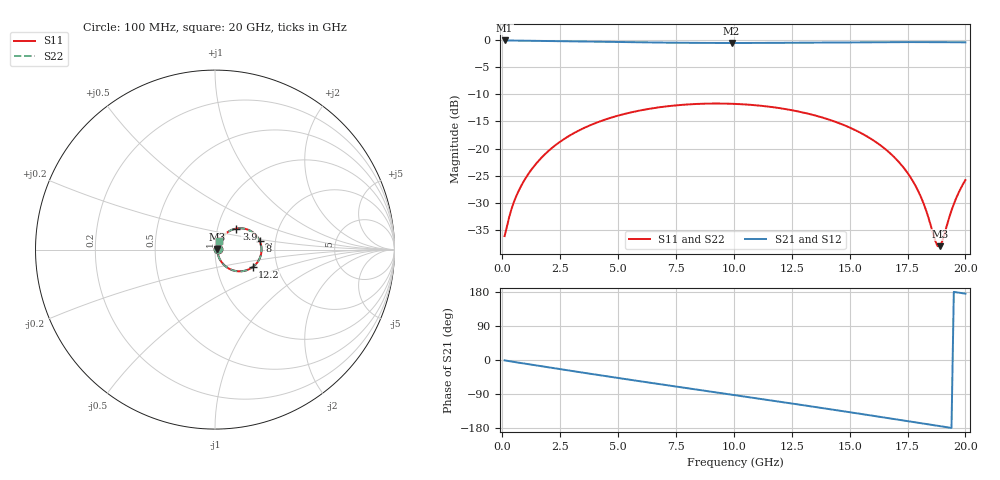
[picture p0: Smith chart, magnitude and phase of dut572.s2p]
! Touchstone file exported from HFSS 2026.1.0
!  File:  C:/ffzhzh/LocalFiles/Ansys_Project_Files/temp_train_TSV_RDL_572_1783117999_50312.aedt
!  Generated:  06:42:43 AM Jul  4, 2026
!  Design:  TSV_RDL
!  Project:  temp_train_TSV_RDL_572_1783117999_50312
! Variables:
!  h_bsmrdl = 3.88um
!  h_ox = 20um
!  h_rdl = 5um
!  h_sub = 78.49um
!  h_tmrdl = 2.42um
!  h_tsv = 78.49um
!  h_via = 3um
!  l_bsmrdl = 439.71um
!  l_sub = 2972.82um
!  l_tmrdl = 280.49um
!  m_sub = 200um
!  pitch = 34.37um
!  r_tsv = 10.46um
!  s_tmrdl = 10um
!  w_bsmrdl = 19.62um
!  w_sub = 500um
!  w_tmrdl = 24.29um
!  x_tsv_center1 = 292.635um
!  x_tsv_center2 = 751.965um
!  x_tsv_center3 = 1056.745um
!  x_tsv_center4 = 1516.075um
!  x_tsv_center5 = 1820.855um
!  x_tsv_center6 = 2280.185um
# GHz S MA R 50.000000
! Terminal data exported
! Port[1] = TM_RDL1_1_T1
! Port[2] = TM_RDL5_1_T1
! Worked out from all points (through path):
!   200 points, 100 MHz to 20 GHz, reference 50 ohm
!   highest |S21| = -0.13 dB at 100 MHz (marker M1); lowest = -0.6 dB at 9.9 GHz (marker M2)
!   group delay of S21, straight-line fit = 25.4 ps
!   lowest |S11| = -38.0 dB at 18.9 GHz (marker M3), VSWR 1.03, Z = 51.3 + j0.249 ohm
!   |S11| at or under -10 dB: start of sweep to end of sweep
!   |S22| runs from -38.0 to -11.7 dB; largest |S21 - S12| = 8.3e-14
!   S11 on the Smith chart (normalised r, x): 100 MHz: 1.03, +0.01; 3.9 GHz: 1.23, +0.30; 8 GHz: 1.66, +0.16; 12.2 GHz: 1.49, -0.31; 20 GHz: 1.04, +0.10
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0.1  0.01565 21.7  0.9855 -1.0  0.9855 -1.0  0.01565 21.7
! Gamma 0 0 0 0
! Port Impedance 50 0 50 0
0.5  0.03211 51.6  0.982 -5.0  0.982 -5.0  0.03211 51.6
1.2  0.06151 59.0  0.9781 -11.8  0.9781 -11.8  0.06151 59.0
2.2  0.1034 56.5  0.9728 -21.3  0.9728 -21.3  0.1034 56.5
3.5  0.1534 47.7  0.9642 -33.6  0.9642 -33.6  0.1534 47.7
3.9  0.1672 44.6  0.9614 -37.3  0.9614 -37.3  0.1672 44.6
6.8  0.2396 20.5  0.9425 -63.8  0.9425 -63.8  0.2396 20.5
8  0.2541 10.4  0.9375 -74.5  0.9375 -74.5  0.2541 10.4
9.9  0.2578 -5.6  0.9344 -91.4  0.9344 -91.4  0.2578 -5.6
10.1  0.2568 -7.3  0.9344 -93.2  0.9344 -93.2  0.2568 -7.3
12.2  0.231 -25.0  0.9379 -112.0  0.9379 -112.0  0.2311 -25.1
13.4  0.2041 -35.1  0.9417 -122.9  0.9417 -122.9  0.2042 -35.2
15.3  0.1455 -50.7  0.9482 -140.5  0.9482 -140.5  0.1456 -50.7
16.7  0.09243 -60.6  0.9514 -153.7  0.9514 -153.7  0.09244 -60.6
17.3  0.06797 -63.2  0.9519 -159.3  0.9519 -159.3  0.06797 -63.4
17.8  0.04727 -63.1  0.952 -164.1  0.952 -164.1  0.04726 -63.3
18.2  0.03097 -58.4  0.9517 -167.9  0.9517 -167.9  0.03095 -58.6
18.7  0.01411 -24.6  0.951 -172.6  0.951 -172.6  0.01402 -24.9
18.8  0.01266 -7.8  0.9508 -173.6  0.9508 -173.6  0.01255 -8.0
18.9  0.01264 11.1  0.9506 -174.5  0.9506 -174.5  0.01252 11.1
19.5  0.03084 62.2  0.9489 179.8  0.9489 179.8  0.03078 62.3
20  0.05128 67.3  0.9471 175.0  0.9471 175.0  0.05123 67.5
